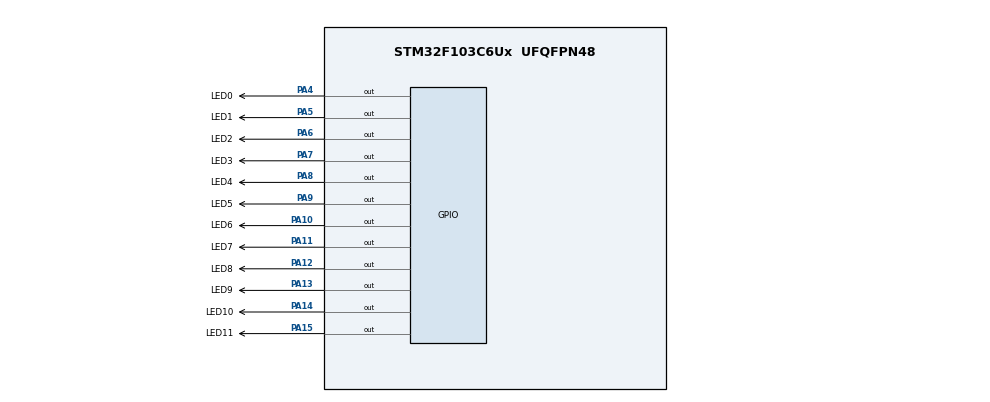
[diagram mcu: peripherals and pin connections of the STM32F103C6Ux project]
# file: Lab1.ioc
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Mcu.Family=STM32F1
Mcu.Name=STM32F103C6Ux
Mcu.Package=UFQFPN48
NVIC.PriorityGroup=NVIC_PRIORITYGROUP_4
PA10.GPIO_Label=LED6
PA10.Signal=GPIO_Output
PA11.GPIO_Label=LED7
PA11.Signal=GPIO_Output
PA12.GPIO_Label=LED8
PA12.Signal=GPIO_Output
PA13.GPIO_Label=LED9
PA13.Signal=GPIO_Output
PA14.GPIO_Label=LED10
PA14.Signal=GPIO_Output
PA15.GPIO_Label=LED11
PA15.Signal=GPIO_Output
PA4.GPIO_Label=LED0
PA4.Signal=GPIO_Output
PA5.GPIO_Label=LED1
PA5.Signal=GPIO_Output
PA6.GPIO_Label=LED2
PA6.Signal=GPIO_Output
PA7.GPIO_Label=LED3
PA7.Signal=GPIO_Output
PA8.GPIO_Label=LED4
PA8.Signal=GPIO_Output
PA9.GPIO_Label=LED5
PA9.Signal=GPIO_Output
ProjectManager.HeapSize=0x200
ProjectManager.StackSize=0x400
ProjectManager.TargetToolchain=STM32CubeIDE
RCC.APB1Freq_Value=8000000
RCC.APB2Freq_Value=8000000
VP_SYS_VS_ND.Mode=No_Debug
board=custom

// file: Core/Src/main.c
/* USER CODE BEGIN Header */
/**
  ******************************************************************************
  * @file           : main.c
  * @brief          : Main program body
  ******************************************************************************
  * @attention
  *
  * <h2><center>&copy; Copyright (c) 2023 STMicroelectronics.
  * All rights reserved.</center></h2>
  *
  * This software component is licensed by ST under BSD 3-Clause license,
  * the "License"; You may not use this file except in compliance with the
  * License. You may obtain a copy of the License at:
  *                        opensource.org/licenses/BSD-3-Clause
  *
  ******************************************************************************
  */
/* USER CODE END Header */
#include "main.h"

/* USER CODE BEGIN Includes */
#include "sofware_timer.h"
/* USER CODE END Includes */

void SystemClock_Config(void);
static void MX_GPIO_Init(void);
/* USER CODE BEGIN PFP */
void SystemClock_Config(void);
static void MX_GPIO_Init(void);
void displayLED(int num);
void clearAllClock();
void setNumberOnClock(int num);
void clearNumberOnClock(int num);
/* USER CODE END PFP */

int main(void)
{

  /* MCU Configuration--------------------------------------------------------*/

  /* Reset of all peripherals, Initializes the Flash interface and the Systick. */
  HAL_Init();

  /* Configure the system clock */
  SystemClock_Config();

  /* Initialize all configured peripherals */
  MX_GPIO_Init();

  /* Infinite loop */
  /* USER CODE BEGIN WHILE */

 int count = 0;
 setTimer(100);
 timer_flag = 1;
 while (1)
 {
	  if (count >= 12){
		  count = 0;
	  }
	  if (timer_flag == 1){
		  displayLED(count);
		  count++;
		  setTimer(100);
	  }
	  timerRun();
	  HAL_Delay(10);
    /* USER CODE END WHILE */

  }
}

void SystemClock_Config(void)
{
  RCC_OscInitTypeDef RCC_OscInitStruct = {0};
  RCC_ClkInitTypeDef RCC_ClkInitStruct = {0};

  /** Initializes the RCC Oscillators according to the specified parameters
  * in the RCC_OscInitTypeDef structure.
  */
  RCC_OscInitStruct.OscillatorType = RCC_OSCILLATORTYPE_HSI;
  RCC_OscInitStruct.HSIState = RCC_HSI_ON;
  RCC_OscInitStruct.HSICalibrationValue = RCC_HSICALIBRATION_DEFAULT;
  RCC_OscInitStruct.PLL.PLLState = RCC_PLL_NONE;
  if (HAL_RCC_OscConfig(&RCC_OscInitStruct) != HAL_OK)
  {
    Error_Handler();
  }
  /** Initializes the CPU, AHB and APB buses clocks
  */
  RCC_ClkInitStruct.ClockType = RCC_CLOCKTYPE_HCLK|RCC_CLOCKTYPE_SYSCLK
                              |RCC_CLOCKTYPE_PCLK1|RCC_CLOCKTYPE_PCLK2;
  RCC_ClkInitStruct.SYSCLKSource = RCC_SYSCLKSOURCE_HSI;
  RCC_ClkInitStruct.AHBCLKDivider = RCC_SYSCLK_DIV1;
  RCC_ClkInitStruct.APB1CLKDivider = RCC_HCLK_DIV1;
  RCC_ClkInitStruct.APB2CLKDivider = RCC_HCLK_DIV1;

  if (HAL_RCC_ClockConfig(&RCC_ClkInitStruct, FLASH_LATENCY_0) != HAL_OK)
  {
    Error_Handler();
  }
}

static void MX_GPIO_Init(void)
{
  GPIO_InitTypeDef GPIO_InitStruct = {0};

  /* GPIO Ports Clock Enable */
  __HAL_RCC_GPIOA_CLK_ENABLE();

  /*Configure GPIO pin Output Level */
  HAL_GPIO_WritePin(GPIOA, LED0_Pin|LED1_Pin|LED2_Pin|LED3_Pin
                          |LED4_Pin|LED5_Pin|LED6_Pin|LED7_Pin
                          |LED8_Pin|LED9_Pin|LED10_Pin|LED11_Pin, GPIO_PIN_RESET);

  /*Configure GPIO pins : LED0_Pin LED1_Pin LED2_Pin LED3_Pin
                           LED4_Pin LED5_Pin LED6_Pin LED7_Pin
                           LED8_Pin LED9_Pin LED10_Pin LED11_Pin */
  GPIO_InitStruct.Pin = LED0_Pin|LED1_Pin|LED2_Pin|LED3_Pin
                          |LED4_Pin|LED5_Pin|LED6_Pin|LED7_Pin
                          |LED8_Pin|LED9_Pin|LED10_Pin|LED11_Pin;
  GPIO_InitStruct.Mode = GPIO_MODE_OUTPUT_PP;
  GPIO_InitStruct.Pull = GPIO_NOPULL;
  GPIO_InitStruct.Speed = GPIO_SPEED_FREQ_LOW;
  HAL_GPIO_Init(GPIOA, &GPIO_InitStruct);

}

/* USER CODE BEGIN 4 */
void setNumberOnClock(int num){
	switch (num){
	case 0:
		HAL_GPIO_WritePin(LED0_GPIO_Port, LED0_Pin, 0);
		break;
	case 1:
		HAL_GPIO_WritePin(LED1_GPIO_Port, LED1_Pin, 0);
		break;
	case 2:
		HAL_GPIO_WritePin(LED2_GPIO_Port, LED2_Pin, 0);
		break;
	case 3:
		HAL_GPIO_WritePin(LED3_GPIO_Port, LED3_Pin, 0);
		break;
	case 4:
		HAL_GPIO_WritePin(LED4_GPIO_Port, LED4_Pin, 0);
		break;
	case 5:
		HAL_GPIO_WritePin(LED5_GPIO_Port, LED5_Pin, 0);
		break;
	case 6:
		HAL_GPIO_WritePin(LED6_GPIO_Port, LED6_Pin, 0);
		break;
	case 7:
		HAL_GPIO_WritePin(LED7_GPIO_Port, LED7_Pin, 0);
		break;
	case 8:
		HAL_GPIO_WritePin(LED8_GPIO_Port, LED8_Pin, 0);
		break;
	case 9:
		HAL_GPIO_WritePin(LED9_GPIO_Port, LED9_Pin, 0);
		break;
	case 10:
		HAL_GPIO_WritePin(LED10_GPIO_Port, LED10_Pin, 0);
		break;
	case 11:
		HAL_GPIO_WritePin(LED11_GPIO_Port, LED11_Pin, 0);
		break;
	}
}
void clearNumberOnClock(int num){
	switch (num){
	case 0:
		HAL_GPIO_WritePin(LED0_GPIO_Port, LED0_Pin, 1);
		break;
	case 1:
		HAL_GPIO_WritePin(LED1_GPIO_Port, LED1_Pin, 1);
		break;
	case 2:
		HAL_GPIO_WritePin(LED2_GPIO_Port, LED2_Pin, 1);
		break;
	case 3:
		HAL_GPIO_WritePin(LED3_GPIO_Port, LED3_Pin, 1);
		break;
	case 4:
		HAL_GPIO_WritePin(LED4_GPIO_Port, LED4_Pin, 1);
		break;
	case 5:
		HAL_GPIO_WritePin(LED5_GPIO_Port, LED5_Pin, 1);
		break;
	case 6:
		HAL_GPIO_WritePin(LED6_GPIO_Port, LED6_Pin, 1);
		break;
	case 7:
		HAL_GPIO_WritePin(LED7_GPIO_Port, LED7_Pin, 1);
		break;
	case 8:
		HAL_GPIO_WritePin(LED8_GPIO_Port, LED8_Pin, 1);
		break;
	case 9:
		HAL_GPIO_WritePin(LED9_GPIO_Port, LED9_Pin, 1);
		break;
	case 10:
		HAL_GPIO_WritePin(LED10_GPIO_Port, LED10_Pin, 1);
		break;
	case 11:
		HAL_GPIO_WritePin(LED11_GPIO_Port, LED11_Pin, 1);
		break;
	}
}
void clearAllClock(){
	HAL_GPIO_WritePin(LED0_GPIO_Port, LED0_Pin, 1);
	HAL_GPIO_WritePin(LED1_GPIO_Port, LED1_Pin, 1);
	HAL_GPIO_WritePin(LED2_GPIO_Port, LED2_Pin, 1);
	HAL_GPIO_WritePin(LED3_GPIO_Port, LED3_Pin,	1);
	HAL_GPIO_WritePin(LED4_GPIO_Port, LED4_Pin, 1);
	HAL_GPIO_WritePin(LED5_GPIO_Port, LED5_Pin, 1);
	HAL_GPIO_WritePin(LED6_GPIO_Port, LED6_Pin, 1);
	HAL_GPIO_WritePin(LED7_GPIO_Port, LED7_Pin, 1);
	HAL_GPIO_WritePin(LED8_GPIO_Port, LED8_Pin, 1);
	HAL_GPIO_WritePin(LED9_GPIO_Port, LED9_Pin, 1);
	HAL_GPIO_WritePin(LED10_GPIO_Port, LED10_Pin, 1);
	HAL_GPIO_WritePin(LED11_GPIO_Port, LED11_Pin, 1);
}
void displayLED(int num){
	switch (num){
	case 0:
		HAL_GPIO_WritePin(LED0_GPIO_Port, LED0_Pin, 1);
		HAL_GPIO_WritePin(LED1_GPIO_Port, LED1_Pin, 0);
		HAL_GPIO_WritePin(LED2_GPIO_Port, LED2_Pin, 0);
		HAL_GPIO_WritePin(LED3_GPIO_Port, LED3_Pin,	0);
		HAL_GPIO_WritePin(LED4_GPIO_Port, LED4_Pin, 0);
		HAL_GPIO_WritePin(LED5_GPIO_Port, LED5_Pin, 0);
		HAL_GPIO_WritePin(LED6_GPIO_Port, LED6_Pin, 0);
		HAL_GPIO_WritePin(LED7_GPIO_Port, LED7_Pin, 0);
		HAL_GPIO_WritePin(LED8_GPIO_Port, LED8_Pin, 0);
		HAL_GPIO_WritePin(LED9_GPIO_Port, LED9_Pin, 0);
		HAL_GPIO_WritePin(LED10_GPIO_Port, LED10_Pin, 0);
		HAL_GPIO_WritePin(LED11_GPIO_Port, LED11_Pin, 0);
		break;
	case 1:
		HAL_GPIO_WritePin(LED0_GPIO_Port, LED0_Pin, 0);
		HAL_GPIO_WritePin(LED1_GPIO_Port, LED1_Pin, 1);
		HAL_GPIO_WritePin(LED2_GPIO_Port, LED2_Pin, 0);
		HAL_GPIO_WritePin(LED3_GPIO_Port, LED3_Pin,	0);
		HAL_GPIO_WritePin(LED4_GPIO_Port, LED4_Pin, 0);
		HAL_GPIO_WritePin(LED5_GPIO_Port, LED5_Pin, 0);
		HAL_GPIO_WritePin(LED6_GPIO_Port, LED6_Pin, 0);
		HAL_GPIO_WritePin(LED7_GPIO_Port, LED7_Pin, 0);
		HAL_GPIO_WritePin(LED8_GPIO_Port, LED8_Pin, 0);
		HAL_GPIO_WritePin(LED9_GPIO_Port, LED9_Pin, 0);
		HAL_GPIO_WritePin(LED10_GPIO_Port, LED10_Pin, 0);
		HAL_GPIO_WritePin(LED11_GPIO_Port, LED11_Pin, 0);
		break;
	case 2:
		HAL_GPIO_WritePin(LED0_GPIO_Port, LED0_Pin, 0);
		HAL_GPIO_WritePin(LED1_GPIO_Port, LED1_Pin, 0);
		HAL_GPIO_WritePin(LED2_GPIO_Port, LED2_Pin, 1);
		HAL_GPIO_WritePin(LED3_GPIO_Port, LED3_Pin,	0);
		HAL_GPIO_WritePin(LED4_GPIO_Port, LED4_Pin, 0);
		HAL_GPIO_WritePin(LED5_GPIO_Port, LED5_Pin, 0);
		HAL_GPIO_WritePin(LED6_GPIO_Port, LED6_Pin, 0);
		HAL_GPIO_WritePin(LED7_GPIO_Port, LED7_Pin, 0);
		HAL_GPIO_WritePin(LED8_GPIO_Port, LED8_Pin, 0);
		HAL_GPIO_WritePin(LED9_GPIO_Port, LED9_Pin, 0);
		HAL_GPIO_WritePin(LED10_GPIO_Port, LED10_Pin, 0);
		HAL_GPIO_WritePin(LED11_GPIO_Port, LED11_Pin, 0);
		break;
	case 3:
		HAL_GPIO_WritePin(LED0_GPIO_Port, LED0_Pin, 0);
		HAL_GPIO_WritePin(LED1_GPIO_Port, LED1_Pin, 0);
		HAL_GPIO_WritePin(LED2_GPIO_Port, LED2_Pin, 0);
		HAL_GPIO_WritePin(LED3_GPIO_Port, LED3_Pin,	1);
		HAL_GPIO_WritePin(LED4_GPIO_Port, LED4_Pin, 0);
		HAL_GPIO_WritePin(LED5_GPIO_Port, LED5_Pin, 0);
		HAL_GPIO_WritePin(LED6_GPIO_Port, LED6_Pin, 0);
		HAL_GPIO_WritePin(LED7_GPIO_Port, LED7_Pin, 0);
		HAL_GPIO_WritePin(LED8_GPIO_Port, LED8_Pin, 0);
		HAL_GPIO_WritePin(LED9_GPIO_Port, LED9_Pin, 0);
		HAL_GPIO_WritePin(LED10_GPIO_Port, LED10_Pin, 0);
		HAL_GPIO_WritePin(LED11_GPIO_Port, LED11_Pin, 0);
		break;
	case 4:
		HAL_GPIO_WritePin(LED0_GPIO_Port, LED0_Pin, 0);
		HAL_GPIO_WritePin(LED1_GPIO_Port, LED1_Pin, 0);
		HAL_GPIO_WritePin(LED2_GPIO_Port, LED2_Pin, 0);
		HAL_GPIO_WritePin(LED3_GPIO_Port, LED3_Pin,	0);
		HAL_GPIO_WritePin(LED4_GPIO_Port, LED4_Pin, 1);
		HAL_GPIO_WritePin(LED5_GPIO_Port, LED5_Pin, 0);
		HAL_GPIO_WritePin(LED6_GPIO_Port, LED6_Pin, 0);
		HAL_GPIO_WritePin(LED7_GPIO_Port, LED7_Pin, 0);
		HAL_GPIO_WritePin(LED8_GPIO_Port, LED8_Pin, 0);
		HAL_GPIO_WritePin(LED9_GPIO_Port, LED9_Pin, 0);
		HAL_GPIO_WritePin(LED10_GPIO_Port, LED10_Pin, 0);
		HAL_GPIO_WritePin(LED11_GPIO_Port, LED11_Pin, 0);
		break;
	case 5:
		HAL_GPIO_WritePin(LED0_GPIO_Port, LED0_Pin, 0);
		HAL_GPIO_WritePin(LED1_GPIO_Port, LED1_Pin, 0);
		HAL_GPIO_WritePin(LED2_GPIO_Port, LED2_Pin, 0);
		HAL_GPIO_WritePin(LED3_GPIO_Port, LED3_Pin,	0);
		HAL_GPIO_WritePin(LED4_GPIO_Port, LED4_Pin, 0);
		HAL_GPIO_WritePin(LED5_GPIO_Port, LED5_Pin, 1);
		HAL_GPIO_WritePin(LED6_GPIO_Port, LED6_Pin, 0);
		HAL_GPIO_WritePin(LED7_GPIO_Port, LED7_Pin, 0);
		HAL_GPIO_WritePin(LED8_GPIO_Port, LED8_Pin, 0);
		HAL_GPIO_WritePin(LED9_GPIO_Port, LED9_Pin, 0);
		HAL_GPIO_WritePin(LED10_GPIO_Port, LED10_Pin, 0);
		HAL_GPIO_WritePin(LED11_GPIO_Port, LED11_Pin, 0);
		break;
	case 6:
		HAL_GPIO_WritePin(LED0_GPIO_Port, LED0_Pin, 0);
		HAL_GPIO_WritePin(LED1_GPIO_Port, LED1_Pin, 0);
		HAL_GPIO_WritePin(LED2_GPIO_Port, LED2_Pin, 0);
		HAL_GPIO_WritePin(LED3_GPIO_Port, LED3_Pin,	0);
		HAL_GPIO_WritePin(LED4_GPIO_Port, LED4_Pin, 0);
		HAL_GPIO_WritePin(LED5_GPIO_Port, LED5_Pin, 0);
		HAL_GPIO_WritePin(LED6_GPIO_Port, LED6_Pin, 1);
		HAL_GPIO_WritePin(LED7_GPIO_Port, LED7_Pin, 0);
		HAL_GPIO_WritePin(LED8_GPIO_Port, LED8_Pin, 0);
		HAL_GPIO_WritePin(LED9_GPIO_Port, LED9_Pin, 0);
		HAL_GPIO_WritePin(LED10_GPIO_Port, LED10_Pin, 0);
		HAL_GPIO_WritePin(LED11_GPIO_Port, LED11_Pin, 0);
		break;
	case 7:
		HAL_GPIO_WritePin(LED0_GPIO_Port, LED0_Pin, 0);
		HAL_GPIO_WritePin(LED1_GPIO_Port, LED1_Pin, 0);
		HAL_GPIO_WritePin(LED2_GPIO_Port, LED2_Pin, 0);
		HAL_GPIO_WritePin(LED3_GPIO_Port, LED3_Pin,	0);
		HAL_GPIO_WritePin(LED4_GPIO_Port, LED4_Pin, 0);
		HAL_GPIO_WritePin(LED5_GPIO_Port, LED5_Pin, 0);
		HAL_GPIO_WritePin(LED6_GPIO_Port, LED6_Pin, 0);
		HAL_GPIO_WritePin(LED7_GPIO_Port, LED7_Pin, 1);
		HAL_GPIO_WritePin(LED8_GPIO_Port, LED8_Pin, 0);
		HAL_GPIO_WritePin(LED9_GPIO_Port, LED9_Pin, 0);
		HAL_GPIO_WritePin(LED10_GPIO_Port, LED10_Pin, 0);
		HAL_GPIO_WritePin(LED11_GPIO_Port, LED11_Pin, 0);
		break;
	case 8:
		HAL_GPIO_WritePin(LED0_GPIO_Port, LED0_Pin, 0);
		HAL_GPIO_WritePin(LED1_GPIO_Port, LED1_Pin, 0);
		HAL_GPIO_WritePin(LED2_GPIO_Port, LED2_Pin, 0);
		HAL_GPIO_WritePin(LED3_GPIO_Port, LED3_Pin,	0);
		HAL_GPIO_WritePin(LED4_GPIO_Port, LED4_Pin, 0);
		HAL_GPIO_WritePin(LED5_GPIO_Port, LED5_Pin, 0);
		HAL_GPIO_WritePin(LED6_GPIO_Port, LED6_Pin, 0);
		HAL_GPIO_WritePin(LED7_GPIO_Port, LED7_Pin, 0);
		HAL_GPIO_WritePin(LED8_GPIO_Port, LED8_Pin, 1);
		HAL_GPIO_WritePin(LED9_GPIO_Port, LED9_Pin, 0);
		HAL_GPIO_WritePin(LED10_GPIO_Port, LED10_Pin, 0);
		HAL_GPIO_WritePin(LED11_GPIO_Port, LED11_Pin, 0);
		break;
	case 9:
		HAL_GPIO_WritePin(LED0_GPIO_Port, LED0_Pin, 0);
		HAL_GPIO_WritePin(LED1_GPIO_Port, LED1_Pin, 0);
		HAL_GPIO_WritePin(LED2_GPIO_Port, LED2_Pin, 0);
		HAL_GPIO_WritePin(LED3_GPIO_Port, LED3_Pin,	0);
		HAL_GPIO_WritePin(LED4_GPIO_Port, LED4_Pin, 0);
		HAL_GPIO_WritePin(LED5_GPIO_Port, LED5_Pin, 0);
		HAL_GPIO_WritePin(LED6_GPIO_Port, LED6_Pin, 0);
		HAL_GPIO_WritePin(LED7_GPIO_Port, LED7_Pin, 0);
		HAL_GPIO_WritePin(LED8_GPIO_Port, LED8_Pin, 0);
		HAL_GPIO_WritePin(LED9_GPIO_Port, LED9_Pin, 1);
		HAL_GPIO_WritePin(LED10_GPIO_Port, LED10_Pin, 0);
		HAL_GPIO_WritePin(LED11_GPIO_Port, LED11_Pin, 0);
		break;
	case 10:
		HAL_GPIO_WritePin(LED0_GPIO_Port, LED0_Pin, 0);
		HAL_GPIO_WritePin(LED1_GPIO_Port, LED1_Pin, 0);
		HAL_GPIO_WritePin(LED2_GPIO_Port, LED2_Pin, 0);
		HAL_GPIO_WritePin(LED3_GPIO_Port, LED3_Pin,	0);
		HAL_GPIO_WritePin(LED4_GPIO_Port, LED4_Pin, 0);
		HAL_GPIO_WritePin(LED5_GPIO_Port, LED5_Pin, 0);
		HAL_GPIO_WritePin(LED6_GPIO_Port, LED6_Pin, 0);
		HAL_GPIO_WritePin(LED7_GPIO_Port, LED7_Pin, 0);
		HAL_GPIO_WritePin(LED8_GPIO_Port, LED8_Pin, 0);
		HAL_GPIO_WritePin(LED9_GPIO_Port, LED9_Pin, 0);
		HAL_GPIO_WritePin(LED10_GPIO_Port, LED10_Pin, 1);
		HAL_GPIO_WritePin(LED11_GPIO_Port, LED11_Pin, 0);
		break;
	case 11:
		HAL_GPIO_WritePin(LED0_GPIO_Port, LED0_Pin, 0);
		HAL_GPIO_WritePin(LED1_GPIO_Port, LED1_Pin, 0);
		HAL_GPIO_WritePin(LED2_GPIO_Port, LED2_Pin, 0);
		HAL_GPIO_WritePin(LED3_GPIO_Port, LED3_Pin,	0);
		HAL_GPIO_WritePin(LED4_GPIO_Port, LED4_Pin, 0);
		HAL_GPIO_WritePin(LED5_GPIO_Port, LED5_Pin, 0);
		HAL_GPIO_WritePin(LED6_GPIO_Port, LED6_Pin, 0);
		HAL_GPIO_WritePin(LED7_GPIO_Port, LED7_Pin, 0);
		HAL_GPIO_WritePin(LED8_GPIO_Port, LED8_Pin, 0);
		HAL_GPIO_WritePin(LED9_GPIO_Port, LED9_Pin, 0);
		HAL_GPIO_WritePin(LED10_GPIO_Port, LED10_Pin, 0);
		HAL_GPIO_WritePin(LED11_GPIO_Port, LED11_Pin, 1);
		break;
	}
}
/* USER CODE END 4 */

void Error_Handler(void)
{
  __disable_irq();
  while (1)
  {
  }
}

/************************ (C) COPYRIGHT STMicroelectronics *****END OF FILE****/
